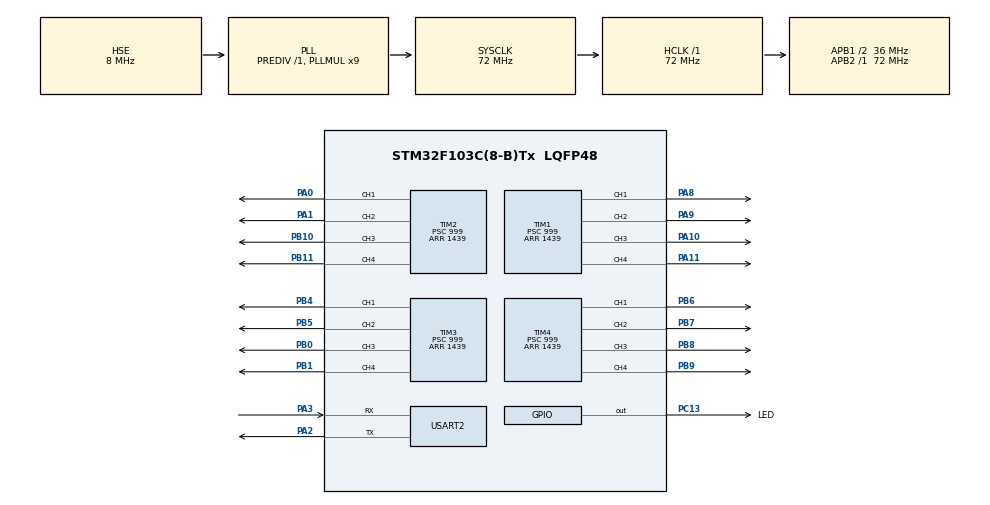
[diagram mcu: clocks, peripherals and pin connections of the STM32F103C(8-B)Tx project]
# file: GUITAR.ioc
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Mcu.Family=STM32F1
Mcu.Name=STM32F103C(8-B)Tx
Mcu.Package=LQFP48
NVIC.PriorityGroup=NVIC_PRIORITYGROUP_4
NVIC.TIM1_UP_IRQn=true\:0\:0\:false\:false\:true\:true\:true\:true
NVIC.TIM2_IRQn=true\:0\:0\:false\:false\:true\:true\:true\:true
NVIC.TIM3_IRQn=true\:0\:0\:false\:false\:true\:true\:true\:true
NVIC.TIM4_IRQn=true\:0\:0\:false\:false\:true\:true\:true\:true
NVIC.USART2_IRQn=true\:0\:0\:false\:false\:true\:true\:true\:true
PA0-WKUP.Signal=S_TIM2_CH1_ETR
PA1.Signal=S_TIM2_CH2
PA10.Signal=S_TIM1_CH3
PA11.Signal=S_TIM1_CH4
PA13.Mode=Serial_Wire
PA13.Signal=SYS_JTMS-SWDIO
PA14.Mode=Serial_Wire
PA14.Signal=SYS_JTCK-SWCLK
PA2.Mode=Asynchronous
PA2.Signal=USART2_TX
PA3.Mode=Asynchronous
PA3.Signal=USART2_RX
PA8.Signal=S_TIM1_CH1
PA9.Signal=S_TIM1_CH2
PB0.Signal=S_TIM3_CH3
PB1.Signal=S_TIM3_CH4
PB10.Signal=S_TIM2_CH3
PB11.Signal=S_TIM2_CH4
PB4.Signal=S_TIM3_CH1
PB5.Signal=S_TIM3_CH2
PB6.Signal=S_TIM4_CH1
PB7.Signal=S_TIM4_CH2
PB8.Signal=S_TIM4_CH3
PB9.Signal=S_TIM4_CH4
PC13-TAMPER-RTC.GPIO_Label=LED
PC13-TAMPER-RTC.GPIO_PuPd=GPIO_PULLUP
PC13-TAMPER-RTC.Signal=GPIO_Output
PD0-OSC_IN.Mode=HSE-External-Oscillator
PD0-OSC_IN.Signal=RCC_OSC_IN
PD1-OSC_OUT.Mode=HSE-External-Oscillator
PD1-OSC_OUT.Signal=RCC_OSC_OUT
ProjectManager.HeapSize=0x200
ProjectManager.StackSize=0x400
ProjectManager.TargetToolchain=Makefile
RCC.AHBFreq_Value=72000000
RCC.APB1CLKDivider=RCC_HCLK_DIV2
RCC.APB1Freq_Value=36000000
RCC.APB1TimFreq_Value=72000000
RCC.APB2Freq_Value=72000000
RCC.APB2TimFreq_Value=72000000
RCC.HCLKFreq_Value=72000000
RCC.PLLMUL=RCC_PLL_MUL9
RCC.PLLSourceVirtual=RCC_PLLSOURCE_HSE
RCC.SYSCLKFreq_VALUE=72000000
RCC.SYSCLKSource=RCC_SYSCLKSOURCE_PLLCLK
RCC.USBFreq_Value=72000000
SH.S_TIM1_CH1.0=TIM1_CH1,PWM Generation1 CH1
SH.S_TIM1_CH2.0=TIM1_CH2,PWM Generation2 CH2
SH.S_TIM1_CH3.0=TIM1_CH3,PWM Generation3 CH3
SH.S_TIM1_CH4.0=TIM1_CH4,PWM Generation4 CH4
SH.S_TIM2_CH1_ETR.0=TIM2_CH1,PWM Generation1 CH1
SH.S_TIM2_CH2.0=TIM2_CH2,PWM Generation2 CH2
SH.S_TIM2_CH3.0=TIM2_CH3,PWM Generation3 CH3
SH.S_TIM2_CH4.0=TIM2_CH4,PWM Generation4 CH4
SH.S_TIM3_CH1.0=TIM3_CH1,PWM Generation1 CH1
SH.S_TIM3_CH2.0=TIM3_CH2,PWM Generation2 CH2
SH.S_TIM3_CH3.0=TIM3_CH3,PWM Generation3 CH3
SH.S_TIM3_CH4.0=TIM3_CH4,PWM Generation4 CH4
SH.S_TIM4_CH1.0=TIM4_CH1,PWM Generation1 CH1
SH.S_TIM4_CH2.0=TIM4_CH2,PWM Generation2 CH2
SH.S_TIM4_CH3.0=TIM4_CH3,PWM Generation3 CH3
SH.S_TIM4_CH4.0=TIM4_CH4,PWM Generation4 CH4
TIM1.Channel-PWM\ Generation1\ CH1=TIM_CHANNEL_1
TIM1.Channel-PWM\ Generation2\ CH2=TIM_CHANNEL_2
TIM1.Channel-PWM\ Generation3\ CH3=TIM_CHANNEL_3
TIM1.Channel-PWM\ Generation4\ CH4=TIM_CHANNEL_4
TIM1.Period=1439
TIM1.Prescaler=999
TIM2.Channel-PWM\ Generation1\ CH1=TIM_CHANNEL_1
TIM2.Channel-PWM\ Generation2\ CH2=TIM_CHANNEL_2
TIM2.Channel-PWM\ Generation3\ CH3=TIM_CHANNEL_3
TIM2.Channel-PWM\ Generation4\ CH4=TIM_CHANNEL_4
TIM2.Period=1439
TIM2.Prescaler=999
TIM3.Channel-PWM\ Generation1\ CH1=TIM_CHANNEL_1
TIM3.Channel-PWM\ Generation2\ CH2=TIM_CHANNEL_2
TIM3.Channel-PWM\ Generation3\ CH3=TIM_CHANNEL_3
TIM3.Channel-PWM\ Generation4\ CH4=TIM_CHANNEL_4
TIM3.Period=1439
TIM3.Prescaler=999
TIM4.Channel-PWM\ Generation1\ CH1=TIM_CHANNEL_1
TIM4.Channel-PWM\ Generation2\ CH2=TIM_CHANNEL_2
TIM4.Channel-PWM\ Generation3\ CH3=TIM_CHANNEL_3
TIM4.Channel-PWM\ Generation4\ CH4=TIM_CHANNEL_4
TIM4.Period=1439
TIM4.Prescaler=999
USART2.VirtualMode=VM_ASYNC
VP_TIM1_VS_ClockSourceINT.Mode=Internal
VP_TIM2_VS_ClockSourceINT.Mode=Internal
VP_TIM3_VS_ClockSourceINT.Mode=Internal
VP_TIM4_VS_ClockSourceINT.Mode=Internal
board=custom

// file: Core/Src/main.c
/* USER CODE BEGIN Header */
/**
  ******************************************************************************
  * @file           : main.c
  * @brief          : Main program body
  ******************************************************************************
  * @attention
  *
  * Copyright (c) 2022 STMicroelectronics.
  * All rights reserved.
  *
  * This software is licensed under terms that can be found in the LICENSE file
  * in the root directory of this software component.
  * If no LICENSE file comes with this software, it is provided AS-IS.
  *
  ******************************************************************************
  */
/* USER CODE END Header */
#include "main.h"
#include "tim.h"
#include "usart.h"
#include "gpio.h"

/* USER CODE BEGIN Includes */
#include "stdbool.h"
#include "stdlib.h"
#include "stdio.h"
#include "string.h"
#include "servo.h"
/* USER CODE END Includes */

/* USER CODE BEGIN PV */
uint8_t RX2_CHAR = '\0';
uint8_t RX2_DATA = '\0';
int RX2_INX = 0;
uint8_t RX2_BUF[10] = {0};
volatile bool isDataReady = false;

// Khoang 3
servo_t servo_k_3_1 = {
  &htim3,
  TIM_CHANNEL_3
};
servo_t servo_k_3_2 = {
  &htim3,
  TIM_CHANNEL_4
};
servo_t servo_k_3_3 = {
  &htim2,
  TIM_CHANNEL_3
};
servo_t servo_k_3_4 = {
  &htim2,
  TIM_CHANNEL_4
};
servo_t servo_k_3_5 = {
  &htim3,
  TIM_CHANNEL_1
};
servo_t servo_k_3_6 = {
  &htim3,
  TIM_CHANNEL_2
};

// Khoang 4
servo_t servo_k_4_1 = {
  &htim1,
  TIM_CHANNEL_4
};
servo_t servo_k_4_2 = {
  &htim1,
  TIM_CHANNEL_3
};
servo_t servo_k_4_3 = {
  &htim1,
  TIM_CHANNEL_2
};
servo_t servo_k_4_4 = {
  &htim1,
  TIM_CHANNEL_1
};
servo_t servo_k_4_5 = {
  &htim2,
  TIM_CHANNEL_1
};
servo_t servo_k_4_6 = {
  &htim2,
  TIM_CHANNEL_2
};
/* USER CODE END PV */

void SystemClock_Config(void);
/* USER CODE BEGIN PFP */

void HAL_UART_RxCpltCallback(UART_HandleTypeDef *huart)
{
  if (huart == &huart2)
  {
    if (RX2_CHAR != '\0')
    {
      RX2_BUF[RX2_INX++] = RX2_CHAR;
      if (RX2_CHAR == 0x03)
      {
        RX2_DATA = RX2_BUF[RX2_INX - 2];
        RX2_INX = 0;
        RX2_CHAR = '\0';
        memset(RX2_BUF, '\0', sizeof(RX2_BUF));
        uint8_t temp[3] = {0};
        temp[0] = 0xC0;
        temp[1] = RX2_DATA;
        temp[2] = 0x03;
        HAL_UART_Transmit_IT(&huart2, temp, 3);
        HAL_GPIO_TogglePin(LED_GPIO_Port, LED_Pin);
        isDataReady = true;
      }
      RX2_CHAR = '\0';
    }
    HAL_UART_Receive_IT(&huart2, &RX2_CHAR, 1);
  }
}
/* USER CODE END PFP */

int main(void)
{

  /* MCU Configuration--------------------------------------------------------*/

  /* Reset of all peripherals, Initializes the Flash interface and the Systick. */
  HAL_Init();

  /* Configure the system clock */
  SystemClock_Config();

  /* Initialize all configured peripherals */
  MX_GPIO_Init();
  MX_TIM1_Init();
  MX_TIM2_Init();
  MX_TIM3_Init();
  MX_TIM4_Init();
  MX_USART2_UART_Init();
  /* USER CODE BEGIN 2 */
  HAL_UART_Receive_IT(&huart2, &RX2_CHAR, 1);

  Servo_Init(&servo_k_3_1, servo_k_3_1.htim, servo_k_3_1.channel);
  Set_servo_xp(&servo_k_3_1, K3_W1_RELEASE);
  Servo_Init(&servo_k_3_2, servo_k_3_2.htim, servo_k_3_2.channel);
  Set_servo_xp(&servo_k_3_2, K3_W2_RELEASE);
  Servo_Init(&servo_k_3_3, servo_k_3_3.htim, servo_k_3_3.channel);
  Set_servo_xp(&servo_k_3_3, K3_W3_RELEASE);
  Servo_Init(&servo_k_3_4, servo_k_3_4.htim, servo_k_3_4.channel);
  Set_servo_xp(&servo_k_3_4, K3_W4_RELEASE);
  Servo_Init(&servo_k_3_5, servo_k_3_5.htim, servo_k_3_5.channel);
  Set_servo_xp(&servo_k_3_5, K3_W5_RELEASE);
  Servo_Init(&servo_k_3_6, servo_k_3_6.htim, servo_k_3_6.channel);
  Set_servo_xp(&servo_k_3_6, K3_W6_RELEASE);

  Servo_Init(&servo_k_4_1, servo_k_4_1.htim, servo_k_4_1.channel);
  Set_servo_xp(&servo_k_4_1, K4_W1_RELEASE);
  // Servo_Init(&servo_k_4_2, servo_k_4_2.htim, servo_k_4_2.channel);
  // Set_servo_xp(&servo_k_4_2, K4_W2_RELEASE);
  Servo_Init(&servo_k_4_3, servo_k_4_3.htim, servo_k_4_3.channel);
  Set_servo_xp(&servo_k_4_3, K4_W3_RELEASE);
  Servo_Init(&servo_k_4_4, servo_k_4_4.htim, servo_k_4_4.channel);
  Set_servo_xp(&servo_k_4_4, K4_W4_RELEASE);
  Servo_Init(&servo_k_4_5, servo_k_4_5.htim, servo_k_4_5.channel);
  Set_servo_xp(&servo_k_4_5, K4_W5_RELEASE);
  Servo_Init(&servo_k_4_6, servo_k_4_6.htim, servo_k_4_6.channel);
  Set_servo_xp(&servo_k_4_6, K4_W6_RELEASE);

  HAL_GPIO_WritePin(LED_GPIO_Port, LED_Pin, GPIO_PIN_RESET);

  /* USER CODE END 2 */

  /* Infinite loop */
  while (1)
  {

    /* USER CODE BEGIN 3 */

    if (isDataReady == true)
    {
      uint8_t fret = (RX2_DATA >> 4) & 0x03;
      uint8_t state = (RX2_DATA >> 3) & 0x01;
      uint8_t wire = (RX2_DATA & 0x07);

      if (fret == FRET_3RD)
      {
        if (wire == WIRE_1ST)
        {
          Set_servo_xp(&servo_k_3_1, ((state == 1)? K3_W1_PRESS:K3_W1_RELEASE));
        }
        else if (wire == WIRE_2ND)
        {
          Set_servo_xp(&servo_k_3_2, ((state == 1)? K3_W2_PRESS:K3_W2_RELEASE));
        }
        if (wire == WIRE_3RD)
        {
          Set_servo_xp(&servo_k_3_3, ((state == 1)? K3_W3_PRESS:K3_W3_RELEASE));
        }
        else if (wire == WIRE_4TH)
        {
          Set_servo_xp(&servo_k_3_4, ((state == 1)? K3_W4_PRESS:K3_W4_RELEASE));
        }
        else if (wire == WIRE_5TH)
        {
          Set_servo_xp(&servo_k_3_5, ((state == 1)? K3_W5_PRESS:K3_W5_RELEASE));
        }
        else if (wire == WIRE_6TH)
        {
          Set_servo_xp(&servo_k_3_6, ((state == 1)? K3_W6_PRESS:K3_W6_RELEASE));
        }
      }
      else if (fret == FRET_4TH)
      {
        if (wire == WIRE_1ST)
        {
          Set_servo_xp(&servo_k_4_1, ((state == 1)? K4_W1_PRESS:K4_W1_RELEASE));
        }
        else if (wire == WIRE_2ND)
        {
          Set_servo_xp(&servo_k_4_2, ((state == 1)? K4_W2_PRESS:K4_W2_RELEASE));
        }
        else if (wire == WIRE_3RD)
        {
          Set_servo_xp(&servo_k_4_3, ((state == 1)? K4_W3_PRESS:K4_W3_RELEASE));
        }
        else if (wire == WIRE_4TH)
        {
          Set_servo_xp(&servo_k_4_4, ((state == 1)? K4_W4_PRESS:K4_W4_RELEASE));
        }
        else if (wire == WIRE_5TH)
        {
          Set_servo_xp(&servo_k_4_5, ((state == 1)? K4_W5_PRESS:K4_W5_RELEASE));
        }
        else if (wire == WIRE_6TH)
        {
          Set_servo_xp(&servo_k_4_6, ((state == 1)? K4_W6_PRESS:K4_W6_RELEASE));
        }
      }
      RX2_DATA = 0;
      isDataReady = false;
    }
      // // uint32_t Bai1 = *ibuffer;
      // for(uint8_t i = 0; i < sizeof(ibuffer) / sizeof(int); i++)
      // {
      //   uint32_t bit = ibuffer[i];

      //     if(((bit >> 12) & 0x00000001)) Set_servo_5p(&servo_k_3_1);
      //     else Set_servo_9p(&servo_k_3_1);

      //     if(((bit >> 13) & 0x00000001)) Set_servo_5p(&servo_k_3_2);
      //     else Set_servo_9p(&servo_k_3_2);

      //     if(((bit >> 14) & 0x00000001)) Set_servo_5p(&servo_k_3_3);
      //     else Set_servo_9p(&servo_k_3_3);

      //     if(((bit >> 15) & 0x00000001)) Set_servo_5p(&servo_k_3_4);
      //     else Set_servo_9p(&servo_k_3_4);

      //     if(((bit >> 16) & 0x00000001)) Set_servo_5p(&servo_k_3_5);
      //     else Set_servo_9p(&servo_k_3_5);

      //     if(((bit >> 17) & 0x00000001)) Set_servo_5p(&servo_k_3_6);
      //     else Set_servo_9p(&servo_k_3_6);

      //     if(((bit >> 18) & 0x00000001)) Set_servo_5p(&servo_k_4_1);
      //     else Set_servo_9p(&servo_k_4_1);

      //     if(((bit >> 19) & 0x00000001)) Set_servo_5p(&servo_k_4_2);
      //     else Set_servo_9p(&servo_k_4_2);

      //     if(((bit >> 20) & 0x00000001)) Set_servo_5p(&servo_k_4_3);
      //     else Set_servo_9p(&servo_k_4_3);

      //     if(((bit >> 21) & 0x00000001)) Set_servo_5p(&servo_k_4_4);
      //     else Set_servo_9p(&servo_k_4_4);

      //     if(((bit >> 22) & 0x00000001)) Set_servo_5p(&servo_k_4_5);
      //     else Set_servo_9p(&servo_k_4_5);

      //     if(((bit >> 23) & 0x00000001)) Set_servo_5p(&servo_k_4_6);
      //     else Set_servo_9p(&servo_k_4_6);

      //     HAL_Delay(250);

      //     if( (count != 1) && (count != 2) && (count != 3) && (count != 4) &&
      //         (count != 5) && (count != 12) && (count != 19) && (count != 24) &&
      //         (count != 25) && (count != 32) && (count != 39) && (count != 47) &&
      //         (count != 52) && (count != 54) && (count != 59) && (count != 76) &&
      //         (count != 85) && (count != 88) && (count != 95))
      //     {
      //       HAL_Delay(250);
      //     }
      //     else if((count == 1) || (count == 2) || (count == 3) || (count == 4) ||
      //             (count == 5) || (count == 12) || (count == 19) || (count == 24) ||
      //             (count == 25) || (count == 39) || (count == 47) || (count == 52) ||
      //             (count == 59) || (count == 76) || (count == 85) || (count == 88) ||
      //             (count == 95))
      //     {
      //       HAL_Delay(750);
      //     }
      //     else if((count == 32) || ( count == 54))
      //     {
      //       HAL_Delay(1250);
      //     }
      //   }

      // }
    // uint32_t timeLoop = 2000;

      // Set_servo_xp(&servo_k_3_5, K3_W5_PRESS);
      // HAL_Delay(2000);
      // Set_servo_xp(&servo_k_3_5, K3_W5_RELEASE);
      // HAL_Delay(2000);

    // Set_servo_xp(&servo_k_4_1, K4_W1_RELEASE);
    // HAL_Delay(timeLoop);
    // Set_servo_xp(&servo_k_4_1, K4_W1_PRESS);
    // HAL_Delay(timeLoop);
    // Set_servo_xp(&servo_k_4_1, K4_W1_RELEASE);
    // HAL_Delay(1000);

    // // Set_servo_xp(&servo_k_4_2, K4_W2_RELEASE);
    // // HAL_Delay(timeLoop);
    // // Set_servo_xp(&servo_k_4_2, K4_W2_PRESS);
    // // HAL_Delay(timeLoop);
    // // Set_servo_xp(&servo_k_4_2, K4_W2_RELEASE);
    // // HAL_Delay(1000);

    // Set_servo_xp(&servo_k_4_3, K4_W3_RELEASE);
    // HAL_Delay(timeLoop);
    // Set_servo_xp(&servo_k_4_3, K4_W3_PRESS);
    // HAL_Delay(timeLoop);
    // Set_servo_xp(&servo_k_4_3, K4_W3_RELEASE);
    // HAL_Delay(1000);

    // Set_servo_xp(&servo_k_4_4, K4_W4_RELEASE);
    // HAL_Delay(timeLoop);
    // Set_servo_xp(&servo_k_4_4, K4_W4_PRESS);
    // HAL_Delay(timeLoop);
    // Set_servo_xp(&servo_k_4_4, K4_W4_RELEASE);
    // HAL_Delay(1000);

    // Set_servo_xp(&servo_k_4_5, K4_W5_RELEASE);
    // HAL_Delay(timeLoop);
    // Set_servo_xp(&servo_k_4_5, K4_W5_PRESS);
    // HAL_Delay(timeLoop);
    // Set_servo_xp(&servo_k_4_5, K4_W5_RELEASE);
    // HAL_Delay(1000);

    // Set_servo_xp(&servo_k_4_6, K4_W6_RELEASE);
    // HAL_Delay(timeLoop);
    // Set_servo_xp(&servo_k_4_6, K4_W6_PRESS);
    // HAL_Delay(timeLoop);
    // Set_servo_xp(&servo_k_4_6, K4_W6_RELEASE);
    // HAL_Delay(1000);
    // Set_servo_xp(&servo_k_3_1, K3_W1_RELEASE);
    //     HAL_Delay(timeLoop);
    //     Set_servo_xp(&servo_k_3_1, K3_W1_PRESS);
    //     HAL_Delay(timeLoop);
    //     Set_servo_xp(&servo_k_3_1, K3_W1_RELEASE);
    //     HAL_Delay(500);

    //     Set_servo_xp(&servo_k_3_2, K3_W2_RELEASE);
    //     HAL_Delay(timeLoop);
    //     Set_servo_xp(&servo_k_3_2, K3_W2_PRESS);
    //     HAL_Delay(timeLoop);
    //     Set_servo_xp(&servo_k_3_2, K3_W2_RELEASE);
    //     HAL_Delay(500);

        // Set_servo_xp(&servo_k_3_2, K3_W3_RELEASE);
        // HAL_Delay(timeLoop);
        // Set_servo_xp(&servo_k_3_2, K3_W3_PRESS);
        // HAL_Delay(timeLoop);
        // Set_servo_xp(&servo_k_3_2, K3_W3_RELEASE);
        // HAL_Delay(500);

        // Set_servo_xp(&servo_k_3_4, K3_W4_RELEASE);
        // HAL_Delay(timeLoop);
        // Set_servo_xp(&servo_k_3_4, K3_W4_PRESS);
        // HAL_Delay(timeLoop);
        // Set_servo_xp(&servo_k_3_4, K3_W4_RELEASE);
        // HAL_Delay(500);

    //     Set_servo_xp(&servo_k_3_5, K3_W5_RELEASE);
    //     HAL_Delay(timeLoop);
    //     Set_servo_xp(&servo_k_3_5, K3_W5_PRESS);
    //     HAL_Delay(timeLoop);
    //     Set_servo_xp(&servo_k_3_5, K3_W5_RELEASE);
    //     HAL_Delay(500);

    //     Set_servo_xp(&servo_k_3_6, K3_W6_RELEASE);
    //     HAL_Delay(timeLoop);
    //     Set_servo_xp(&servo_k_3_6, K3_W6_PRESS);
    //     HAL_Delay(timeLoop);
    //     Set_servo_xp(&servo_k_3_6, K3_W6_RELEASE);
    //     HAL_Delay(500);

    // Set_servo_xp(&servo_k_4_1, 75);
  //     Set_servo_xp(&servo_k_4_2, 75);
    // HAL_Delay(2000);
  // Set_servo_xp(&servo_k_4_2, 115);
  // HAL_Delay(2000);
    // Set_servo_xp(&servo_k_4_3, 75);
    // Set_servo_xp(&servo_k_4_4, 95);
    // Set_servo_xp(&servo_k_4_5, );
    // Set_servo_xp(&servo_k_4_6, 50);

    // Set_servo_xp(&servo_k_3_1, 85);
    // Set_servo_xp(&servo_k_3_2, 85);
    // Set_servo_xp(&servo_k_3_3, 85);
    // Set_servo_xp(&servo_k_3_4, 85);
    // Set_servo_xp(&servo_k_3_5, 80);
    // Set_servo_xp(&servo_k_3_6, 75);

    // HAL_Delay(2000);
    // Set_servo_xp(&servo_k_4_1, 50);
    // HAL_Delay(2000);
    // Set_servo_xp(&servo_k_3_3, 85);
    // Set_servo_xp(&servo_k_3_4, 85);
    // Set_servo_xp(&servo_k_3_5, 85);
    // Set_servo_xp(&servo_k_3_6, 85);

  /* USER CODE END 3 */
  }
}

void SystemClock_Config(void)
{
  RCC_OscInitTypeDef RCC_OscInitStruct = {0};
  RCC_ClkInitTypeDef RCC_ClkInitStruct = {0};

  /** Initializes the RCC Oscillators according to the specified parameters
  * in the RCC_OscInitTypeDef structure.
  */
  RCC_OscInitStruct.OscillatorType = RCC_OSCILLATORTYPE_HSE;
  RCC_OscInitStruct.HSEState = RCC_HSE_ON;
  RCC_OscInitStruct.HSEPredivValue = RCC_HSE_PREDIV_DIV1;
  RCC_OscInitStruct.HSIState = RCC_HSI_ON;
  RCC_OscInitStruct.PLL.PLLState = RCC_PLL_ON;
  RCC_OscInitStruct.PLL.PLLSource = RCC_PLLSOURCE_HSE;
  RCC_OscInitStruct.PLL.PLLMUL = RCC_PLL_MUL9;
  if (HAL_RCC_OscConfig(&RCC_OscInitStruct) != HAL_OK)
  {
    Error_Handler();
  }

  /** Initializes the CPU, AHB and APB buses clocks
  */
  RCC_ClkInitStruct.ClockType = RCC_CLOCKTYPE_HCLK|RCC_CLOCKTYPE_SYSCLK
                              |RCC_CLOCKTYPE_PCLK1|RCC_CLOCKTYPE_PCLK2;
  RCC_ClkInitStruct.SYSCLKSource = RCC_SYSCLKSOURCE_PLLCLK;
  RCC_ClkInitStruct.AHBCLKDivider = RCC_SYSCLK_DIV1;
  RCC_ClkInitStruct.APB1CLKDivider = RCC_HCLK_DIV2;
  RCC_ClkInitStruct.APB2CLKDivider = RCC_HCLK_DIV1;

  if (HAL_RCC_ClockConfig(&RCC_ClkInitStruct, FLASH_LATENCY_2) != HAL_OK)
  {
    Error_Handler();
  }
}

void Error_Handler(void)
{
  __disable_irq();
  while (1)
  {
  }
}
